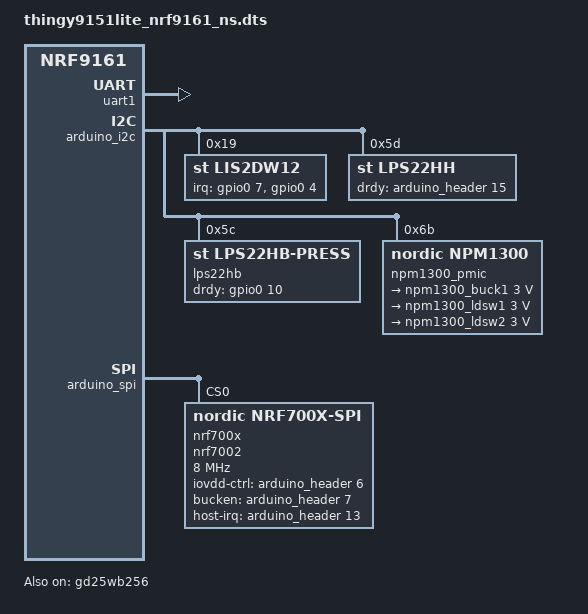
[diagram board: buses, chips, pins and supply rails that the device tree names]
/*
 * Copyright (c) 2023 Nordic Semiconductor ASA
 *
 * SPDX-License-Identifier: Apache-2.0
 */

/dts-v1/;
#include <nordic/nrf9161ns_laca.dtsi>
#include "thingy9151lite_nrf9161_common.dtsi"
#include <dt-bindings/regulator/npm1300.h>

/ {
	chosen {
		zephyr,flash = &flash0;
		zephyr,sram = &sram0_ns;
		zephyr,code-partition = &slot0_ns_partition;
		nordic,pm-ext-flash = &gd25wb256;
	};

	aliases {
		ext-flash = &gd25wb256;
	};

	nordic_wlan0: nordic_wlan0 {
		compatible = "nordic,wlan0";
		status = "okay";
	};

	nrf70_tx_power_ceiling: nrf70_tx_power_ceiling_node {
		status = "okay";
		compatible = "nordic,nrf700x-tx-power-ceiling";
		max-pwr-2g-dsss = <0x54>;
		max-pwr-2g-mcs0 = <0x40>;
		max-pwr-2g-mcs7 = <0x40>;
		max-pwr-5g-low-mcs0 = <0x34>;
		max-pwr-5g-low-mcs7 = <0x34>;
		max-pwr-5g-mid-mcs0 = <0x34>;
		max-pwr-5g-mid-mcs7 = <0x34>;
		max-pwr-5g-high-mcs0 = <0x30>;
		max-pwr-5g-high-mcs7 = <0x30>;
	};
};

&gd25wb256 {
	status = "okay";
};

&uart1 {
	status = "okay";
#if 0 /* TBD - the app hangs with hw-flow-control enabled */
	hw-flow-control;
#endif
};

&arduino_i2c {
	lis2dw12: lis2dw12@19 {
		compatible = "st,lis2dw12";
		reg = <0x19>;
		int-pin = <1>;
		irq-gpios =  <&gpio0 7 GPIO_ACTIVE_HIGH>, <&gpio0 4 GPIO_ACTIVE_HIGH>;
	};

	lps22hh: lps22hh@5d {
		compatible = "st,lps22hh";
		reg = <0x5d>;
		drdy-gpios = <&arduino_header 15 GPIO_ACTIVE_HIGH>;
	};

	lps22hb: lps22hb-press@5c {
		compatible = "st,lps22hb-press";
		reg = <0x5c>;
		drdy-gpios = <&gpio0 10 GPIO_ACTIVE_HIGH>;
	};

	npm1300_pmic: pmic@6b {
		compatible = "nordic,npm1300";
		reg = <0x6b>;
		status = "okay";

		npm1300_wdt: npm1300_wdt {
			compatible = "nordic,npm1300-wdt";
		};

		npm1300_regulators: regulators {
			compatible = "nordic,npm1300-regulator";

			/* limits are set to min/max allowed values */
			npm1300_buck1: BUCK1 {
				regulator-min-microvolt = <3000000>;
				regulator-max-microvolt = <3000000>;
			};

			npm1300_ldsw1: LDO1 {
				regulator-min-microvolt = <3000000>;
				regulator-max-microvolt = <3000000>;
				regulator-initial-mode = <NPM1300_LDSW_MODE_LDSW>;
				regulator-allowed-modes = <NPM1300_LDSW_MODE_LDSW>;
			};

			npm1300_ldsw2: LDO2 {
				regulator-min-microvolt = <3000000>;
				regulator-max-microvolt = <3000000>;
				regulator-initial-mode = <NPM1300_LDSW_MODE_LDSW>;
				regulator-allowed-modes = <NPM1300_LDSW_MODE_LDSW>;
			};
		};

		npm1300_charger: charger {
			compatible = "nordic,npm1300-charger";
			term-microvolt = <4150000>;
			term-warm-microvolt = <4150000>;
			current-microamp = <800000>;
			dischg-limit-microamp = <1340000>;
			vbus-limit-microamp = <1200000>;
			thermistor-ohms = <10000>;
			thermistor-beta = <3380>;
			charging-enable;
		};
	};
};

&arduino_spi {
	status = "okay";

	nrf700x: nrf7002@0 {
		compatible = "nordic,nrf700x-spi";
		status = "okay";
		reg = <0>;
		spi-max-frequency = <DT_FREQ_M(8)>;

		iovdd-ctrl-gpios = <&arduino_header 6 (GPIO_ACTIVE_HIGH | GPIO_PULL_DOWN)>;    /* D0 */
		bucken-gpios = <&arduino_header 7 (GPIO_ACTIVE_HIGH | GPIO_PULL_DOWN)>;        /* D1 */
		host-irq-gpios = <&arduino_header 13 GPIO_ACTIVE_HIGH>;     /* D7 */
	};
};
